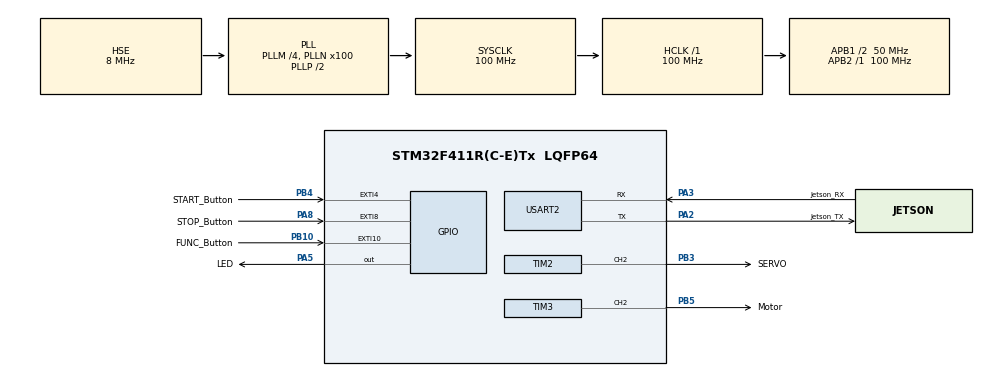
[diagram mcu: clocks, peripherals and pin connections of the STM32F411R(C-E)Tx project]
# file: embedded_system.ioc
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Dma.Request0=USART2_RX
Dma.USART2_RX.0.Direction=DMA_PERIPH_TO_MEMORY
Dma.USART2_RX.0.FIFOMode=DMA_FIFOMODE_DISABLE
Dma.USART2_RX.0.Instance=DMA1_Stream5
Dma.USART2_RX.0.MemDataAlignment=DMA_MDATAALIGN_BYTE
Dma.USART2_RX.0.MemInc=DMA_MINC_ENABLE
Dma.USART2_RX.0.Mode=DMA_CIRCULAR
Dma.USART2_RX.0.PeriphDataAlignment=DMA_PDATAALIGN_BYTE
Dma.USART2_RX.0.PeriphInc=DMA_PINC_DISABLE
Dma.USART2_RX.0.Priority=DMA_PRIORITY_HIGH
Mcu.Family=STM32F4
Mcu.Name=STM32F411R(C-E)Tx
Mcu.Package=LQFP64
NVIC.DMA1_Stream5_IRQn=true\:0\:0\:false\:false\:true\:false\:true\:true
NVIC.EXTI15_10_IRQn=true\:0\:0\:false\:false\:true\:true\:true\:true
NVIC.EXTI4_IRQn=true\:0\:0\:false\:false\:true\:true\:true\:true
NVIC.EXTI9_5_IRQn=true\:0\:0\:false\:false\:true\:true\:true\:true
NVIC.PriorityGroup=NVIC_PRIORITYGROUP_4
NVIC.TIM1_UP_TIM10_IRQn=true\:0\:0\:false\:false\:true\:true\:true\:true
NVIC.USART2_IRQn=true\:0\:0\:false\:false\:true\:true\:true\:true
PA2.GPIO_Label=Jetson_TX
PA2.Mode=Asynchronous
PA2.Signal=USART2_TX
PA3.GPIO_Label=Jetson_RX
PA3.GPIO_PuPd=GPIO_PULLUP
PA3.Mode=Asynchronous
PA3.Signal=USART2_RX
PA5.GPIO_Label=LED
PA5.Signal=GPIO_Output
PA8.GPIO_Label=STOP_Button
PA8.GPIO_PuPd=GPIO_PULLUP
PA8.Signal=GPXTI8
PB10.GPIO_Label=FUNC_Button
PB10.GPIO_PuPd=GPIO_PULLUP
PB10.Signal=GPXTI10
PB3.GPIO_Label=SERVO
PB3.GPIO_PuPd=GPIO_PULLUP
PB3.GPIO_Speed=GPIO_SPEED_FREQ_HIGH
PB3.Signal=S_TIM2_CH2
PB4.GPIO_Label=START_Button
PB4.GPIO_PuPd=GPIO_PULLUP
PB4.Signal=GPXTI4
PB5.GPIO_Label=Motor
PB5.GPIO_Speed=GPIO_SPEED_FREQ_VERY_HIGH
PB5.Signal=S_TIM3_CH2
PH0\ -\ OSC_IN.Mode=HSE-External-Oscillator
PH0\ -\ OSC_IN.Signal=RCC_OSC_IN
PH1\ -\ OSC_OUT.Mode=HSE-External-Oscillator
PH1\ -\ OSC_OUT.Signal=RCC_OSC_OUT
ProjectManager.HeapSize=0x200
ProjectManager.StackSize=0x400
ProjectManager.TargetToolchain=MDK-ARM V5.32
RCC.48MHZClocksFreq_Value=50000000
RCC.AHBFreq_Value=100000000
RCC.APB1CLKDivider=RCC_HCLK_DIV2
RCC.APB1Freq_Value=50000000
RCC.APB1TimFreq_Value=100000000
RCC.APB2Freq_Value=100000000
RCC.APB2TimFreq_Value=100000000
RCC.CortexFreq_Value=100000000
RCC.HCLKFreq_Value=100000000
RCC.HSE_VALUE=8000000
RCC.HSI_VALUE=16000000
RCC.LSE_VALUE=32768
RCC.PLLM=4
RCC.PLLN=100
RCC.PLLSourceVirtual=RCC_PLLSOURCE_HSE
RCC.SYSCLKFreq_VALUE=100000000
RCC.SYSCLKSource=RCC_SYSCLKSOURCE_PLLCLK
RCC.VCOOutputFreq_Value=200000000
SH.S_TIM2_CH2.0=TIM2_CH2,PWM Generation2 CH2
SH.S_TIM3_CH2.0=TIM3_CH2,PWM Generation2 CH2
TIM1.Period=1999
TIM1.Prescaler=999
TIM2.Channel-PWM\ Generation2\ CH2=TIM_CHANNEL_2
TIM2.Period=999
TIM2.Prescaler=1999
TIM3.Channel-PWM\ Generation2\ CH2=TIM_CHANNEL_2
TIM3.Period=999
TIM3.Prescaler=999
USART2.VirtualMode=VM_ASYNC
VP_TIM1_VS_ClockSourceINT.Mode=Internal
VP_TIM2_VS_ClockSourceINT.Mode=Internal
VP_TIM3_VS_ClockSourceINT.Mode=Internal
board=custom

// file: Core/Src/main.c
/* USER CODE BEGIN Header */
/**
  ******************************************************************************
  * @file           : main.c
  * @brief          : Main program body
  ******************************************************************************
  * @attention
  *
  * Copyright (c) 2023 STMicroelectronics.
  * All rights reserved.
  *
  * This software is licensed under terms that can be found in the LICENSE file
  * in the root directory of this software component.
  * If no LICENSE file comes with this software, it is provided AS-IS.
  *
  ******************************************************************************
  */
/* USER CODE END Header */
#include "main.h"
#include "dma.h"
#include "tim.h"
#include "usart.h"
#include "gpio.h"

/* USER CODE BEGIN Includes */
#include "stdio.h"
#include "stdbool.h"

/******* HARDWARE *******/
#include "ESC/esc.h"
#include "SERVO/servo.h"

/******* SOFTWARE *******/
#include "FUNCTIONS/math_functions.h"
#include "CONTROLLER/ute_ai.h"

/* USER CODE END Includes */

/* USER CODE BEGIN PM */
esc Esc;
servo Servo;

/* USER CODE END PM */

/* USER CODE BEGIN PV */
uint8_t rxdata[4] = {0, 0, 0, 0};
int16_t receive_speed;
int8_t receive_angle;
uint8_t flag_button=0;

/* USER CODE END PV */

void SystemClock_Config(void);

int main(void)
{

  /* MCU Configuration--------------------------------------------------------*/

  /* Reset of all peripherals, Initializes the Flash interface and the Systick. */
  HAL_Init();

  /* Configure the system clock */
  SystemClock_Config();

  /* Initialize all configured peripherals */
  MX_GPIO_Init();
  MX_DMA_Init();
  MX_TIM2_Init();
  MX_TIM3_Init();
  MX_TIM1_Init();
  MX_USART2_UART_Init();
  /* USER CODE BEGIN 2 */
	/************** ESC **************/
	ESC_Init(&Esc, 100, -10, 25);
//	TIM3->CCR2 = 100;

	/************** SERVO **************/
	SERVO_Init(&Servo, 75, -25, 25);
//	TIM2->CCR2 = 90;

	/************** TIMER **************/
	HAL_TIM_Base_Start_IT(&htim1);

	/************** COMMUNICATION **************/
	while (HAL_UARTEx_ReceiveToIdle_DMA(&huart2, rxdata, 4) != HAL_OK) HAL_UART_DMAStop(&huart2);
  __HAL_DMA_DISABLE_IT(&hdma_usart2_rx, DMA_IT_HT);

  /* USER CODE END 2 */

  /* Infinite loop */
  while (1)
  {

    /* USER CODE BEGIN 3 */
		HAL_Delay(10);
  }
  /* USER CODE END 3 */
}

void SystemClock_Config(void)
{
  RCC_OscInitTypeDef RCC_OscInitStruct = {0};
  RCC_ClkInitTypeDef RCC_ClkInitStruct = {0};

  /** Configure the main internal regulator output voltage
  */
  __HAL_RCC_PWR_CLK_ENABLE();
  __HAL_PWR_VOLTAGESCALING_CONFIG(PWR_REGULATOR_VOLTAGE_SCALE1);

  /** Initializes the RCC Oscillators according to the specified parameters
  * in the RCC_OscInitTypeDef structure.
  */
  RCC_OscInitStruct.OscillatorType = RCC_OSCILLATORTYPE_HSE;
  RCC_OscInitStruct.HSEState = RCC_HSE_ON;
  RCC_OscInitStruct.PLL.PLLState = RCC_PLL_ON;
  RCC_OscInitStruct.PLL.PLLSource = RCC_PLLSOURCE_HSE;
  RCC_OscInitStruct.PLL.PLLM = 4;
  RCC_OscInitStruct.PLL.PLLN = 100;
  RCC_OscInitStruct.PLL.PLLP = RCC_PLLP_DIV2;
  RCC_OscInitStruct.PLL.PLLQ = 4;
  if (HAL_RCC_OscConfig(&RCC_OscInitStruct) != HAL_OK)
  {
    Error_Handler();
  }

  /** Initializes the CPU, AHB and APB buses clocks
  */
  RCC_ClkInitStruct.ClockType = RCC_CLOCKTYPE_HCLK|RCC_CLOCKTYPE_SYSCLK
                              |RCC_CLOCKTYPE_PCLK1|RCC_CLOCKTYPE_PCLK2;
  RCC_ClkInitStruct.SYSCLKSource = RCC_SYSCLKSOURCE_PLLCLK;
  RCC_ClkInitStruct.AHBCLKDivider = RCC_SYSCLK_DIV1;
  RCC_ClkInitStruct.APB1CLKDivider = RCC_HCLK_DIV2;
  RCC_ClkInitStruct.APB2CLKDivider = RCC_HCLK_DIV1;

  if (HAL_RCC_ClockConfig(&RCC_ClkInitStruct, FLASH_LATENCY_3) != HAL_OK)
  {
    Error_Handler();
  }
}

/* USER CODE BEGIN 4 */
uint16_t i = 100;

/*********************************************************/
void HAL_TIM_PeriodElapsedCallback(TIM_HandleTypeDef *htim) {
  if (htim->Instance == TIM1) {
		HAL_GPIO_TogglePin(LED_GPIO_Port, LED_Pin);

		/************* SETUP ESC *************/
//		TIM3->CCR2 = i;
//		// Tang
//		if (i<=105) i+=1;
			// Giam
//		if (i>=100) i-=1;
		/*************************************/

		/************* Control *************/
//		Run(&Esc, &Servo, -10, 0);
		if (flag_button == 0) Run(&Esc, &Servo, 0, 0); // Speed, Angle
		else Run(&Esc, &Servo, receive_speed, receive_angle);  // Run(&Esc, &Servo, -10, 0); // Speed, Angle
		}
}

/*********************************************************/
void HAL_UARTEx_RxEventCallback(UART_HandleTypeDef *huart, uint16_t Size) {
  if (huart->Instance == USART2) {
	  while (HAL_UARTEx_ReceiveToIdle_DMA(&huart2, rxdata, 4) != HAL_OK) HAL_UART_DMAStop(&huart2);
    __HAL_DMA_DISABLE_IT(&hdma_usart2_rx, DMA_IT_HT);
		if (Size == 4) {
			if (rxdata[3] == 25) {
				receive_speed = ((int16_t)rxdata[1]<<8)|rxdata[0];
				receive_angle = rxdata[2];
			}
			else {
				receive_speed = 0;
				receive_angle = 0;
			}

			/**** CHECK DATA ****/
//			if (receive_speed == 100 && receive_angle == 0) HAL_GPIO_WritePin(LED_GPIO_Port, LED_Pin, GPIO_PIN_SET);
//			else HAL_GPIO_WritePin(LED_GPIO_Port, LED_Pin, GPIO_PIN_RESET);
		}
  }
}

/*********************************************************/
void HAL_UART_ErrorCallback(UART_HandleTypeDef *huart) {
  if (huart->Instance == USART2) {
		while (HAL_UARTEx_ReceiveToIdle_DMA(&huart2, rxdata, 4) != HAL_OK) HAL_UART_DMAStop(&huart2);
    __HAL_DMA_DISABLE_IT(&hdma_usart2_rx, DMA_IT_HT);
	}
}

/************************SETUP ESC************************/
uint16_t setup_pwm;
void HAL_GPIO_EXTI_Callback(uint16_t GPIO_Pin)
{
	if (GPIO_Pin == STOP_Button_Pin) {
		flag_button=0;
//		setup_pwm = 65; //65 (100Hz) - 35 (50Hz)
//		TIM3->CCR2 = setup_pwm;
	}
	else if (GPIO_Pin == FUNC_Button_Pin) {
		flag_button=1;
//		setup_pwm = 100; // 150 (100Hz) - 75 (50Hz)
//		TIM3->CCR2 = setup_pwm;
	}
	else if (GPIO_Pin == START_Button_Pin) {
		flag_button=2;
//		setup_pwm = 235; // 235 (100Hz) - 115 (50Hz)
//		TIM3->CCR2 = setup_pwm;
	}
}

/* USER CODE END 4 */

void Error_Handler(void)
{
  __disable_irq();
  while (1)
  {
  }
}
